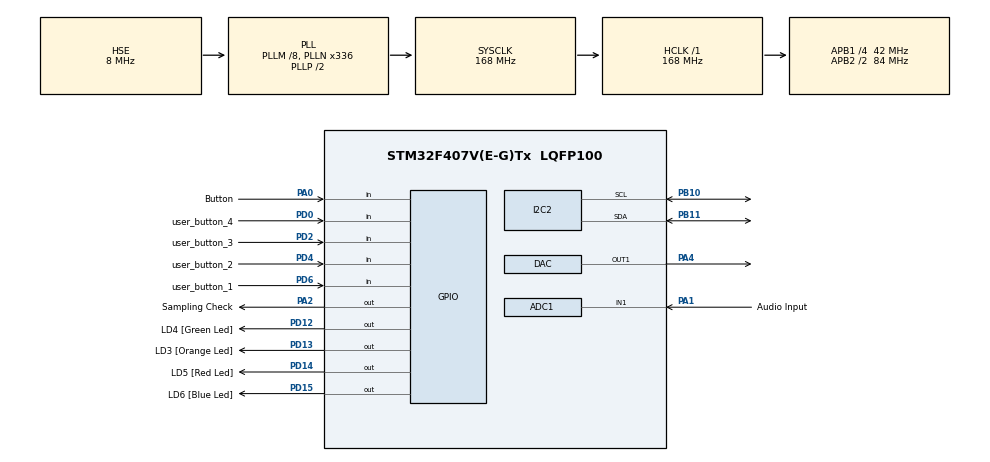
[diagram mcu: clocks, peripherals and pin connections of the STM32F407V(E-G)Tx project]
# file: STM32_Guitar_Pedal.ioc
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ADC1.Channel-0\#ChannelRegularConversion=ADC_CHANNEL_1
ADC1.ClockPrescaler=ADC_CLOCK_SYNC_PCLK_DIV4
ADC1.ContinuousConvMode=DISABLE
ADC1.DMAContinuousRequests=DISABLE
ADC1.DataAlign=ADC_DATAALIGN_RIGHT
ADC1.DiscontinuousConvMode=DISABLE
ADC1.EOCSelection=ADC_EOC_SINGLE_CONV
ADC1.EnableAnalogWatchDog=false
ADC1.ExternalTrigConv=ADC_EXTERNALTRIGCONV_T2_TRGO
ADC1.ExternalTrigConvEdge=ADC_EXTERNALTRIGCONVEDGE_RISING
ADC1.InjNumberOfConversion=0
ADC1.NbrOfConversion=1
ADC1.NbrOfConversionFlag=1
ADC1.Rank-0\#ChannelRegularConversion=1
ADC1.Resolution=ADC_RESOLUTION_12B
ADC1.SamplingTime-0\#ChannelRegularConversion=ADC_SAMPLETIME_3CYCLES
ADC1.ScanConvMode=DISABLE
ADC1.master=1
I2C2.I2C_Mode=I2C_Standard
Mcu.Family=STM32F4
Mcu.Name=STM32F407V(E-G)Tx
Mcu.Package=LQFP100
NVIC.ADC_IRQn=true\:0\:0\:false\:false\:true\:true\:true
NVIC.PriorityGroup=NVIC_PRIORITYGROUP_4
NVIC.TIM6_DAC_IRQn=true\:2\:0\:true\:false\:true\:true\:true
NVIC.TIM7_IRQn=true\:0\:0\:false\:false\:true\:true\:true
PA0-WKUP.GPIO_Label=Button
PA0-WKUP.Signal=GPIO_Input
PA1.GPIO_Label=Audio Input
PA1.Signal=ADCx_IN1
PA13.GPIO_Label=SWDIO
PA13.Mode=Serial_Wire
PA13.Signal=SYS_JTMS-SWDIO
PA14.GPIO_Label=SWCLK
PA14.Mode=Serial_Wire
PA14.Signal=SYS_JTCK-SWCLK
PA2.GPIO_Label=Sampling Check
PA2.Signal=GPIO_Output
PA4.Signal=COMP_DAC1_group
PB10.Mode=I2C
PB10.Signal=I2C2_SCL
PB11.Mode=I2C
PB11.Signal=I2C2_SDA
PB3.GPIO_Label=SWO
PB3.Signal=SYS_JTDO-SWO
PB6.GPIO_Label=Audio_SCL [CS43L22_SCL]
PB6.GPIO_Mode=GPIO_MODE_AF_OD
PB6.GPIO_PuPd=GPIO_NOPULL
PB6.GPIO_Speed=GPIO_SPEED_FREQ_LOW
PB6.Signal=I2C1_SCL
PB9.GPIO_Label=Audio_SDA [CS43L22_SDA]
PB9.GPIO_Mode=GPIO_MODE_AF_OD
PB9.GPIO_PuPd=GPIO_NOPULL
PB9.GPIO_Speed=GPIO_SPEED_FREQ_LOW
PB9.Signal=I2C1_SDA
PC10.GPIO_Label=I2S3_SCK [CS43L22_SCLK]
PC10.GPIO_Mode=GPIO_MODE_AF_PP
PC10.GPIO_PuPd=GPIO_NOPULL
PC10.GPIO_Speed=GPIO_SPEED_FREQ_MEDIUM
PC10.Signal=I2S3_CK
PC12.GPIO_Label=I2S3_SD [CS43L22_SDIN]
PC12.GPIO_Mode=GPIO_MODE_AF_PP
PC12.GPIO_PuPd=GPIO_NOPULL
PC12.GPIO_Speed=GPIO_SPEED_FREQ_MEDIUM
PC12.Signal=I2S3_SD
PC7.GPIO_Label=I2S3_MCK [CS43L22_MCLK]
PC7.GPIO_Mode=GPIO_MODE_AF_PP
PC7.GPIO_PuPd=GPIO_NOPULL
PC7.GPIO_Speed=GPIO_SPEED_FREQ_MEDIUM
PC7.Signal=I2S3_MCK
PD0.GPIO_Label=user_button_4
PD0.Signal=GPIO_Input
PD12.GPIO_Label=LD4 [Green Led]
PD12.GPIO_PuPd=GPIO_NOPULL
PD12.GPIO_Speed=GPIO_SPEED_FREQ_LOW
PD12.Signal=GPIO_Output
PD13.GPIO_Label=LD3 [Orange Led]
PD13.GPIO_PuPd=GPIO_NOPULL
PD13.GPIO_Speed=GPIO_SPEED_FREQ_LOW
PD13.Signal=GPIO_Output
PD14.GPIO_Label=LD5 [Red Led]
PD14.GPIO_PuPd=GPIO_NOPULL
PD14.GPIO_Speed=GPIO_SPEED_FREQ_LOW
PD14.Signal=GPIO_Output
PD15.GPIO_Label=LD6 [Blue Led]
PD15.GPIO_PuPd=GPIO_NOPULL
PD15.GPIO_Speed=GPIO_SPEED_FREQ_LOW
PD15.Signal=GPIO_Output
PD2.GPIO_Label=user_button_3
PD2.Signal=GPIO_Input
PD4.GPIO_Label=user_button_2
PD4.Signal=GPIO_Input
PD6.GPIO_Label=user_button_1
PD6.Signal=GPIO_Input
PH0-OSC_IN.GPIO_Label=PH0-OSC_IN
PH0-OSC_IN.Mode=HSE-External-Oscillator
PH0-OSC_IN.Signal=RCC_OSC_IN
PH1-OSC_OUT.GPIO_Label=PH1-OSC_OUT
PH1-OSC_OUT.Mode=HSE-External-Oscillator
PH1-OSC_OUT.Signal=RCC_OSC_OUT
ProjectManager.HeapSize=0x200
ProjectManager.StackSize=0x400
ProjectManager.TargetToolchain=STM32CubeIDE
RCC.48MHZClocksFreq_Value=48000000
RCC.AHBFreq_Value=168000000
RCC.APB1CLKDivider=RCC_HCLK_DIV4
RCC.APB1Freq_Value=42000000
RCC.APB1TimFreq_Value=84000000
RCC.APB2CLKDivider=RCC_HCLK_DIV2
RCC.APB2Freq_Value=84000000
RCC.APB2TimFreq_Value=168000000
RCC.CortexFreq_Value=168000000
RCC.HCLKFreq_Value=168000000
RCC.HSE_VALUE=8000000
RCC.HSI_VALUE=16000000
RCC.LSE_VALUE=0.00000000000003276799999999999
RCC.PLLI2SN=258
RCC.PLLI2SR=3
RCC.PLLM=8
RCC.PLLN=336
RCC.PLLQ=7
RCC.PLLSourceVirtual=RCC_PLLSOURCE_HSE
RCC.SYSCLKFreq_VALUE=168000000
RCC.SYSCLKSource=RCC_SYSCLKSOURCE_PLLCLK
RCC.VCOOutputFreq_Value=336000000
SH.ADCx_IN1.0=ADC1_IN1,IN1
SH.COMP_DAC1_group.0=DAC_OUT1,DAC_OUT1
TIM2.Period=9
TIM2.Prescaler=175
TIM2.TIM_MasterOutputTrigger=TIM_TRGO_UPDATE
TIM2.TIM_MasterSlaveMode=TIM_MASTERSLAVEMODE_DISABLE
TIM7.Prescaler=1
TIM7.TIM_MasterOutputTrigger=TIM_TRGO_UPDATE
VP_TIM2_VS_ClockSourceINT.Mode=Internal
VP_TIM7_VS_ClockSourceINT.Mode=Enable_Timer
board=STM32F4DISCOVERY

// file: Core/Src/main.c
/* USER CODE BEGIN Header */
/**
  ******************************************************************************
  * @file           : main.c
  * @brief          : Main program body
  ******************************************************************************
  * @attention
  *
  * <h2><center>&copy; Copyright (c) 2020 STMicroelectronics.
  * All rights reserved.</center></h2>
  *
  * This software component is licensed by ST under BSD 3-Clause license,
  * the "License"; You may not use this file except in compliance with the
  * License. You may obtain a copy of the License at:
  *                        opensource.org/licenses/BSD-3-Clause
  *
  ******************************************************************************
  */
/* USER CODE END Header */
#include "main.h"

ADC_HandleTypeDef hadc1;
DAC_HandleTypeDef hdac;
I2C_HandleTypeDef hi2c2;
TIM_HandleTypeDef htim2;
TIM_HandleTypeDef htim7;
/* USER CODE BEGIN PV */
pedal_t* Pedal;

int adc_done = 0;

bool_t buttons[4];
bool_t last_buttons[4];
press_t press = None;
bool_t DO_IIR = TRUE;
/* USER CODE END PV */

void SystemClock_Config(void);
static void MX_GPIO_Init(void);
static void MX_ADC1_Init(void);
static void MX_TIM2_Init(void);
static void MX_DAC_Init(void);
static void MX_I2C2_Init(void);
static void MX_TIM7_Init(void);

int main(void)
{

  /* MCU Configuration--------------------------------------------------------*/

  /* Reset of all peripherals, Initializes the Flash interface and the Systick. */
  HAL_Init();

  /* USER CODE BEGIN Init */

  Pedal = init_pedal(); //initialize overall pedal state
  /* USER CODE END Init */

  /* Configure the system clock */
  SystemClock_Config();

  /* Initialize all configured peripherals */
  MX_GPIO_Init();
  MX_ADC1_Init();
  MX_TIM2_Init();
  MX_DAC_Init();
  MX_I2C2_Init();
  MX_TIM7_Init();
  /* USER CODE BEGIN 2 */
  HAL_TIM_Base_Start(&htim2); 	//activate timers
  HAL_TIM_Base_Start(&htim7);
  HAL_TIM_Base_Start_IT(&htim7);
  HAL_ADC_Start_IT(&hadc1); 		// and adc
  HAL_DAC_Start(&hdac, DAC_CHANNEL_1); // and dac

  init_display_ui(Pedal); //start up the UI now that hardware is initialized

  /* USER CODE END 2 */

  /* Infinite loop */
  while (1)
  {

    /* USER CODE BEGIN 3 */
	  if(adc_done && HAL_DAC_GetState(&hdac) == HAL_DAC_STATE_READY){
		  adc_done=0;
		  get_and_send();

	  }else if(press != None){
		  update_display(Pedal, &press);
	  }
  }
  /* USER CODE END 3 */
}

void SystemClock_Config(void)
{
  RCC_OscInitTypeDef RCC_OscInitStruct = {0};
  RCC_ClkInitTypeDef RCC_ClkInitStruct = {0};

  /** Configure the main internal regulator output voltage
  */
  __HAL_RCC_PWR_CLK_ENABLE();
  __HAL_PWR_VOLTAGESCALING_CONFIG(PWR_REGULATOR_VOLTAGE_SCALE1);
  /** Initializes the RCC Oscillators according to the specified parameters
  * in the RCC_OscInitTypeDef structure.
  */
  RCC_OscInitStruct.OscillatorType = RCC_OSCILLATORTYPE_HSE;
  RCC_OscInitStruct.HSEState = RCC_HSE_ON;
  RCC_OscInitStruct.PLL.PLLState = RCC_PLL_ON;
  RCC_OscInitStruct.PLL.PLLSource = RCC_PLLSOURCE_HSE;
  RCC_OscInitStruct.PLL.PLLM = 8;
  RCC_OscInitStruct.PLL.PLLN = 336;
  RCC_OscInitStruct.PLL.PLLP = RCC_PLLP_DIV2;
  RCC_OscInitStruct.PLL.PLLQ = 7;
  if (HAL_RCC_OscConfig(&RCC_OscInitStruct) != HAL_OK)
  {
    Error_Handler();
  }
  /** Initializes the CPU, AHB and APB buses clocks
  */
  RCC_ClkInitStruct.ClockType = RCC_CLOCKTYPE_HCLK|RCC_CLOCKTYPE_SYSCLK
                              |RCC_CLOCKTYPE_PCLK1|RCC_CLOCKTYPE_PCLK2;
  RCC_ClkInitStruct.SYSCLKSource = RCC_SYSCLKSOURCE_PLLCLK;
  RCC_ClkInitStruct.AHBCLKDivider = RCC_SYSCLK_DIV1;
  RCC_ClkInitStruct.APB1CLKDivider = RCC_HCLK_DIV4;
  RCC_ClkInitStruct.APB2CLKDivider = RCC_HCLK_DIV2;

  if (HAL_RCC_ClockConfig(&RCC_ClkInitStruct, FLASH_LATENCY_5) != HAL_OK)
  {
    Error_Handler();
  }
}

static void MX_ADC1_Init(void)
{

  ADC_ChannelConfTypeDef sConfig = {0};

  /** Configure the global features of the ADC (Clock, Resolution, Data Alignment and number of conversion)
  */
  hadc1.Instance = ADC1;
  hadc1.Init.ClockPrescaler = ADC_CLOCK_SYNC_PCLK_DIV4;
  hadc1.Init.Resolution = ADC_RESOLUTION_12B;
  hadc1.Init.ScanConvMode = DISABLE;
  hadc1.Init.ContinuousConvMode = DISABLE;
  hadc1.Init.DiscontinuousConvMode = DISABLE;
  hadc1.Init.ExternalTrigConvEdge = ADC_EXTERNALTRIGCONVEDGE_RISING;
  hadc1.Init.ExternalTrigConv = ADC_EXTERNALTRIGCONV_T2_TRGO;
  hadc1.Init.DataAlign = ADC_DATAALIGN_RIGHT;
  hadc1.Init.NbrOfConversion = 1;
  hadc1.Init.DMAContinuousRequests = DISABLE;
  hadc1.Init.EOCSelection = ADC_EOC_SINGLE_CONV;
  if (HAL_ADC_Init(&hadc1) != HAL_OK)
  {
    Error_Handler();
  }
  /** Configure for the selected ADC regular channel its corresponding rank in the sequencer and its sample time.
  */
  sConfig.Channel = ADC_CHANNEL_1;
  sConfig.Rank = 1;
  sConfig.SamplingTime = ADC_SAMPLETIME_3CYCLES;
  if (HAL_ADC_ConfigChannel(&hadc1, &sConfig) != HAL_OK)
  {
    Error_Handler();
  }

}

static void MX_DAC_Init(void)
{

  DAC_ChannelConfTypeDef sConfig = {0};

  /** DAC Initialization
  */
  hdac.Instance = DAC;
  if (HAL_DAC_Init(&hdac) != HAL_OK)
  {
    Error_Handler();
  }
  /** DAC channel OUT1 config
  */
  sConfig.DAC_Trigger = DAC_TRIGGER_NONE;
  sConfig.DAC_OutputBuffer = DAC_OUTPUTBUFFER_ENABLE;
  if (HAL_DAC_ConfigChannel(&hdac, &sConfig, DAC_CHANNEL_1) != HAL_OK)
  {
    Error_Handler();
  }

}

static void MX_I2C2_Init(void)
{

  hi2c2.Instance = I2C2;
  hi2c2.Init.ClockSpeed = 100000;
  hi2c2.Init.DutyCycle = I2C_DUTYCYCLE_2;
  hi2c2.Init.OwnAddress1 = 0;
  hi2c2.Init.AddressingMode = I2C_ADDRESSINGMODE_7BIT;
  hi2c2.Init.DualAddressMode = I2C_DUALADDRESS_DISABLE;
  hi2c2.Init.OwnAddress2 = 0;
  hi2c2.Init.GeneralCallMode = I2C_GENERALCALL_DISABLE;
  hi2c2.Init.NoStretchMode = I2C_NOSTRETCH_DISABLE;
  if (HAL_I2C_Init(&hi2c2) != HAL_OK)
  {
    Error_Handler();
  }

}

static void MX_TIM2_Init(void)
{

  TIM_ClockConfigTypeDef sClockSourceConfig = {0};
  TIM_MasterConfigTypeDef sMasterConfig = {0};

  htim2.Instance = TIM2;
  htim2.Init.Prescaler = 175;
  htim2.Init.CounterMode = TIM_COUNTERMODE_UP;
  htim2.Init.Period = 9;
  htim2.Init.ClockDivision = TIM_CLOCKDIVISION_DIV1;
  htim2.Init.AutoReloadPreload = TIM_AUTORELOAD_PRELOAD_DISABLE;
  if (HAL_TIM_Base_Init(&htim2) != HAL_OK)
  {
    Error_Handler();
  }
  sClockSourceConfig.ClockSource = TIM_CLOCKSOURCE_INTERNAL;
  if (HAL_TIM_ConfigClockSource(&htim2, &sClockSourceConfig) != HAL_OK)
  {
    Error_Handler();
  }
  sMasterConfig.MasterOutputTrigger = TIM_TRGO_UPDATE;
  sMasterConfig.MasterSlaveMode = TIM_MASTERSLAVEMODE_DISABLE;
  if (HAL_TIMEx_MasterConfigSynchronization(&htim2, &sMasterConfig) != HAL_OK)
  {
    Error_Handler();
  }

}

static void MX_TIM7_Init(void)
{

  TIM_MasterConfigTypeDef sMasterConfig = {0};

  htim7.Instance = TIM7;
  htim7.Init.Prescaler = 1;
  htim7.Init.CounterMode = TIM_COUNTERMODE_UP;
  htim7.Init.Period = 65535;
  htim7.Init.AutoReloadPreload = TIM_AUTORELOAD_PRELOAD_DISABLE;
  if (HAL_TIM_Base_Init(&htim7) != HAL_OK)
  {
    Error_Handler();
  }
  sMasterConfig.MasterOutputTrigger = TIM_TRGO_UPDATE;
  sMasterConfig.MasterSlaveMode = TIM_MASTERSLAVEMODE_DISABLE;
  if (HAL_TIMEx_MasterConfigSynchronization(&htim7, &sMasterConfig) != HAL_OK)
  {
    Error_Handler();
  }

}

static void MX_GPIO_Init(void)
{
  GPIO_InitTypeDef GPIO_InitStruct = {0};

  /* GPIO Ports Clock Enable */
  __HAL_RCC_GPIOH_CLK_ENABLE();
  __HAL_RCC_GPIOA_CLK_ENABLE();
  __HAL_RCC_GPIOB_CLK_ENABLE();
  __HAL_RCC_GPIOD_CLK_ENABLE();
  __HAL_RCC_GPIOC_CLK_ENABLE();

  /*Configure GPIO pin Output Level */
  HAL_GPIO_WritePin(Sampling_Check_GPIO_Port, Sampling_Check_Pin, GPIO_PIN_RESET);

  /*Configure GPIO pin Output Level */
  HAL_GPIO_WritePin(GPIOD, LD4_Pin|LD3_Pin|LD5_Pin|LD6_Pin, GPIO_PIN_RESET);

  /*Configure GPIO pin : Button_Pin */
  GPIO_InitStruct.Pin = Button_Pin;
  GPIO_InitStruct.Mode = GPIO_MODE_INPUT;
  GPIO_InitStruct.Pull = GPIO_NOPULL;
  HAL_GPIO_Init(Button_GPIO_Port, &GPIO_InitStruct);

  /*Configure GPIO pin : Sampling_Check_Pin */
  GPIO_InitStruct.Pin = Sampling_Check_Pin;
  GPIO_InitStruct.Mode = GPIO_MODE_OUTPUT_PP;
  GPIO_InitStruct.Pull = GPIO_NOPULL;
  GPIO_InitStruct.Speed = GPIO_SPEED_FREQ_LOW;
  HAL_GPIO_Init(Sampling_Check_GPIO_Port, &GPIO_InitStruct);

  /*Configure GPIO pins : LD4_Pin LD3_Pin LD5_Pin LD6_Pin */
  GPIO_InitStruct.Pin = LD4_Pin|LD3_Pin|LD5_Pin|LD6_Pin;
  GPIO_InitStruct.Mode = GPIO_MODE_OUTPUT_PP;
  GPIO_InitStruct.Pull = GPIO_NOPULL;
  GPIO_InitStruct.Speed = GPIO_SPEED_FREQ_LOW;
  HAL_GPIO_Init(GPIOD, &GPIO_InitStruct);

  /*Configure GPIO pins : I2S3_MCK_Pin I2S3_SCK_Pin I2S3_SD_Pin */
  GPIO_InitStruct.Pin = I2S3_MCK_Pin|I2S3_SCK_Pin|I2S3_SD_Pin;
  GPIO_InitStruct.Mode = GPIO_MODE_AF_PP;
  GPIO_InitStruct.Pull = GPIO_NOPULL;
  GPIO_InitStruct.Speed = GPIO_SPEED_FREQ_MEDIUM;
  GPIO_InitStruct.Alternate = GPIO_AF6_SPI3;
  HAL_GPIO_Init(GPIOC, &GPIO_InitStruct);

  /*Configure GPIO pins : user_button_4_Pin user_button_3_Pin user_button_2_Pin user_button_1_Pin */
  GPIO_InitStruct.Pin = user_button_4_Pin|user_button_3_Pin|user_button_2_Pin|user_button_1_Pin;
  GPIO_InitStruct.Mode = GPIO_MODE_INPUT;
  GPIO_InitStruct.Pull = GPIO_NOPULL;
  HAL_GPIO_Init(GPIOD, &GPIO_InitStruct);

  /*Configure GPIO pins : Audio_SCL_Pin Audio_SDA_Pin */
  GPIO_InitStruct.Pin = Audio_SCL_Pin|Audio_SDA_Pin;
  GPIO_InitStruct.Mode = GPIO_MODE_AF_OD;
  GPIO_InitStruct.Pull = GPIO_PULLUP;
  GPIO_InitStruct.Speed = GPIO_SPEED_FREQ_LOW;
  GPIO_InitStruct.Alternate = GPIO_AF4_I2C1;
  HAL_GPIO_Init(GPIOB, &GPIO_InitStruct);

}

/* USER CODE BEGIN 4 */
void get_and_send(void){
	uint16_t sample = HAL_ADC_GetValue(&hadc1);

	uint16_t intermediate, output;

	if(DO_IIR){
		do_iir(&sample, &intermediate);
		sample = intermediate;
	}
	for(int i = 0; i < Pedal->n_effects; i++){
		if(Pedal->effects[i]->enabled){
			Pedal->effects[i]->do_effect(&sample, &intermediate);
			sample = intermediate;
		}
	}

	output = sample;

	send_data_to_dac(output);
}

void send_data_to_dac(uint16_t data){
	HAL_DAC_SetValue(&hdac, DAC_CHANNEL_1,DAC_ALIGN_12B_R, data);
}

void flip_monitor(void)
{
	static int monitor_state = 0;
	if(monitor_state){
		 HAL_GPIO_WritePin(Sampling_Check_GPIO_Port, Sampling_Check_Pin, GPIO_PIN_RESET);
		monitor_state =0;
	}else{
		 HAL_GPIO_WritePin(Sampling_Check_GPIO_Port, Sampling_Check_Pin, GPIO_PIN_SET);
		monitor_state = 1;
	}
}

void init_buttons(void){
	for(int i = 0; i < 4; i++){
		buttons[i] = FALSE;
	}
}

void read_buttons(void){
	for(int i = 0; i < 4; i++){
		last_buttons[i] = buttons[i];
	}
	buttons[0] = HAL_GPIO_ReadPin(GPIOD, user_button_1_Pin);
	buttons[1] = HAL_GPIO_ReadPin(GPIOD, user_button_2_Pin);
	buttons[2] = HAL_GPIO_ReadPin(GPIOD, user_button_3_Pin);
	buttons[3] = HAL_GPIO_ReadPin(GPIOD, user_button_4_Pin);
	//we can assume we'll only get 1 press in 250hz poll rate. KISS
	if(buttons[0] && !last_buttons[0]) press = A;
	if(buttons[1] && !last_buttons[1]) press = B;
	if(buttons[2] && !last_buttons[2]) press = Left;
	if(buttons[3] && !last_buttons[3]) press = Right;

}

void HAL_ADC_ConvCpltCallback(ADC_HandleTypeDef* hadc)
{
	adc_done = 1;
	//flip_monitor();
}
void HAL_TIM_PeriodElapsedCallback(TIM_HandleTypeDef *htim)
{
  /* Prevent unused argument(s) compilation warning */
  UNUSED(htim);

  if(htim->Instance == htim7.Instance){
	  //button timer
	  read_buttons();
	  //flip_monitor();
  }

}

/* USER CODE END 4 */

void Error_Handler(void)
{
}

/************************ (C) COPYRIGHT STMicroelectronics *****END OF FILE****/
